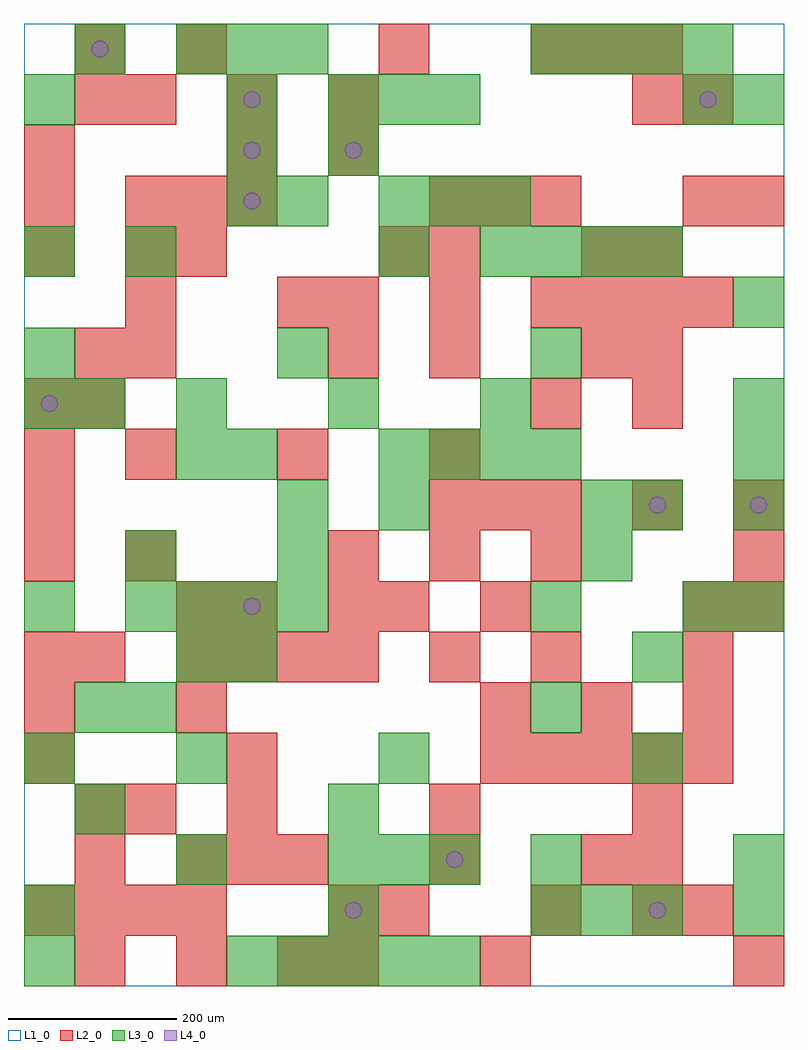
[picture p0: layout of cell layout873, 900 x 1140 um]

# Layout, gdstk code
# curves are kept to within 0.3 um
import gdstk
lib = gdstk.Library(unit=1e-6, precision=1e-09)
def R(c, l, rs):  # rectangles x0, y0, x1, y1
    for r in rs: c.add(gdstk.rectangle(r[:2], r[2:], *l))
def A(c, l, x, y, w, h, nx, ny, dx, dy):  # array of equal rectangles
    R(c, l, [(x+i*dx, y+j*dy, x+i*dx+w, y+j*dy+h) for i in range(nx) for j in range(ny)])
def P(c, l, *ps):  # polygons
    for p in ps: c.add(gdstk.Polygon(p, *l))
L1_0 = (1, 0)
L2_0 = (2, 0)
L3_0 = (3, 0)
L4_0 = (4, 0)

layout873 = lib.new_cell('layout873')
R(layout873, L1_0, [(0,0,900,1140)])
A(layout873, L2_0, 60, 0, 60, 60, 3, 1, 120, 0)
A(layout873, L2_0, 0, 60, 60, 60, 4, 1, 60, 0)
A(layout873, L2_0, 600, 60, 60, 60, 1, 3, 0, 300)
A(layout873, L2_0, 180, 120, 60, 60, 3, 1, 60, 0)
A(layout873, L2_0, 240, 180, 60, 60, 3, 1, 240, 0)
A(layout873, L2_0, 0, 240, 60, 60, 1, 3, 0, 60)
A(layout873, L2_0, 540, 240, 60, 60, 5, 1, 60, 0)
A(layout873, L2_0, 540, 300, 60, 60, 3, 1, 120, 0)
A(layout873, L2_0, 180, 360, 60, 60, 4, 1, 60, 0)
A(layout873, L2_0, 840, 420, 60, 60, 1, 3, 0, 60)
A(layout873, L2_0, 0, 480, 60, 60, 1, 4, 0, 60)
A(layout873, L2_0, 360, 480, 60, 60, 3, 2, 120, 300)
A(layout873, L2_0, 480, 540, 60, 60, 3, 2, 60, 360)
A(layout873, L2_0, 120, 600, 60, 60, 3, 1, 180, 0)
A(layout873, L2_0, 120, 720, 60, 60, 1, 3, 0, 60)
A(layout873, L2_0, 660, 780, 60, 60, 3, 1, 60, 0)
A(layout873, L2_0, 0, 840, 60, 60, 1, 3, 0, 60)
A(layout873, L2_0, 120, 900, 60, 60, 3, 1, 60, 0)
A(layout873, L2_0, 120, 1020, 60, 60, 3, 1, 120, 0)
A(layout873, L2_0, 600, 1080, 60, 60, 3, 1, 60, 0)
R(layout873, L2_0, [(360,0,420,60), (540,0,600,60), (840,0,900,60), (360,60,420,120), (420,60,480,120), (720,60,780,120), (780,60,840,120), (60,120,120,180), (480,120,540,180), (660,120,720,180), (720,120,780,180), (60,180,120,240), (120,180,180,240), (240,240,300,300), (180,300,240,360), (60,360,120,420), (480,360,540,420), (780,360,840,420), (180,420,240,480), (240,420,300,480), (360,420,420,480), (420,420,480,480), (540,420,600,480), (780,420,840,480), (120,480,180,540), (720,540,780,600), (60,660,120,720), (720,660,780,720), (60,720,120,780), (360,720,420,780), (480,720,540,780), (660,720,720,780), (720,720,780,780), (300,780,360,840), (180,840,240,900), (420,840,480,900), (480,840,540,900), (660,840,720,900), (720,840,780,900), (780,900,840,960), (840,900,900,960), (240,960,300,1020), (360,960,420,1020), (60,1020,120,1080), (720,1020,780,1080), (780,1020,840,1080), (60,1080,120,1140), (180,1080,240,1140), (420,1080,480,1140)])
A(layout873, L3_0, 240, 0, 60, 60, 5, 1, 60, 0)
A(layout873, L3_0, 0, 60, 60, 60, 1, 3, 0, 180)
A(layout873, L3_0, 600, 60, 60, 60, 3, 1, 60, 0)
A(layout873, L3_0, 180, 120, 60, 60, 1, 3, 0, 120)
A(layout873, L3_0, 360, 120, 60, 60, 3, 2, 60, 900)
A(layout873, L3_0, 420, 240, 60, 60, 1, 3, 0, 300)
A(layout873, L3_0, 120, 420, 60, 60, 4, 1, 60, 0)
A(layout873, L3_0, 840, 540, 60, 60, 1, 3, 0, 60)
A(layout873, L3_0, 420, 600, 60, 60, 4, 1, 60, 0)
A(layout873, L3_0, 0, 660, 60, 60, 1, 3, 0, 180)
A(layout873, L3_0, 180, 660, 60, 60, 3, 1, 180, 0)
A(layout873, L3_0, 0, 720, 60, 60, 3, 1, 300, 0)
A(layout873, L3_0, 540, 840, 60, 60, 4, 1, 60, 0)
A(layout873, L3_0, 240, 900, 60, 60, 1, 3, 0, 60)
A(layout873, L3_0, 420, 900, 60, 60, 3, 1, 60, 0)
A(layout873, L3_0, 180, 1080, 60, 60, 3, 1, 60, 0)
A(layout873, L3_0, 600, 1080, 60, 60, 4, 1, 60, 0)
R(layout873, L3_0, [(0,0,60,60), (360,60,420,120), (840,60,900,120), (600,120,660,180), (840,120,900,180), (60,180,120,240), (360,180,420,240), (720,240,780,300), (60,300,120,360), (120,300,180,360), (600,300,660,360), (240,360,300,420), (720,360,780,420), (600,420,660,480), (780,420,840,480), (840,420,900,480), (120,480,180,540), (300,480,360,540), (660,480,720,540), (300,540,360,600), (660,540,720,600), (720,540,780,600), (180,600,240,660), (240,600,300,660), (60,660,120,720), (840,780,900,840), (120,840,180,900), (300,900,360,960), (360,960,420,1020), (780,1020,840,1080), (840,1020,900,1080), (60,1080,120,1140)])
P(layout873, L4_0, [(40,690),(39.239,693.827),(37.071,697.071),(33.827,699.239),(30,700),(26.173,699.239),(22.929,697.071),(20.761,693.827),(20,690),(20.761,686.173),(22.929,682.929),(26.173,680.761),(30,680),(33.827,680.761),(37.071,682.929),(39.239,686.173)],
  [(100,1110),(99.239,1113.827),(97.071,1117.071),(93.827,1119.239),(90,1120),(86.173,1119.239),(82.929,1117.071),(80.761,1113.827),(80,1110),(80.761,1106.173),(82.929,1102.929),(86.173,1100.761),(90,1100),(93.827,1100.761),(97.071,1102.929),(99.239,1106.173)],
  [(280,450),(279.239,453.827),(277.071,457.071),(273.827,459.239),(270,460),(266.173,459.239),(262.929,457.071),(260.761,453.827),(260,450),(260.761,446.173),(262.929,442.929),(266.173,440.761),(270,440),(273.827,440.761),(277.071,442.929),(279.239,446.173)],
  [(280,930),(279.239,933.827),(277.071,937.071),(273.827,939.239),(270,940),(266.173,939.239),(262.929,937.071),(260.761,933.827),(260,930),(260.761,926.173),(262.929,922.929),(266.173,920.761),(270,920),(273.827,920.761),(277.071,922.929),(279.239,926.173)],
  [(280,990),(279.239,993.827),(277.071,997.071),(273.827,999.239),(270,1000),(266.173,999.239),(262.929,997.071),(260.761,993.827),(260,990),(260.761,986.173),(262.929,982.929),(266.173,980.761),(270,980),(273.827,980.761),(277.071,982.929),(279.239,986.173)],
  [(280,1050),(279.239,1053.827),(277.071,1057.071),(273.827,1059.239),(270,1060),(266.173,1059.239),(262.929,1057.071),(260.761,1053.827),(260,1050),(260.761,1046.173),(262.929,1042.929),(266.173,1040.761),(270,1040),(273.827,1040.761),(277.071,1042.929),(279.239,1046.173)],
  [(400,90),(399.239,93.827),(397.071,97.071),(393.827,99.239),(390,100),(386.173,99.239),(382.929,97.071),(380.761,93.827),(380,90),(380.761,86.173),(382.929,82.929),(386.173,80.761),(390,80),(393.827,80.761),(397.071,82.929),(399.239,86.173)],
  [(400,990),(399.239,993.827),(397.071,997.071),(393.827,999.239),(390,1000),(386.173,999.239),(382.929,997.071),(380.761,993.827),(380,990),(380.761,986.173),(382.929,982.929),(386.173,980.761),(390,980),(393.827,980.761),(397.071,982.929),(399.239,986.173)],
  [(520,150),(519.239,153.827),(517.071,157.071),(513.827,159.239),(510,160),(506.173,159.239),(502.929,157.071),(500.761,153.827),(500,150),(500.761,146.173),(502.929,142.929),(506.173,140.761),(510,140),(513.827,140.761),(517.071,142.929),(519.239,146.173)],
  [(760,90),(759.239,93.827),(757.071,97.071),(753.827,99.239),(750,100),(746.173,99.239),(742.929,97.071),(740.761,93.827),(740,90),(740.761,86.173),(742.929,82.929),(746.173,80.761),(750,80),(753.827,80.761),(757.071,82.929),(759.239,86.173)],
  [(760,570),(759.239,573.827),(757.071,577.071),(753.827,579.239),(750,580),(746.173,579.239),(742.929,577.071),(740.761,573.827),(740,570),(740.761,566.173),(742.929,562.929),(746.173,560.761),(750,560),(753.827,560.761),(757.071,562.929),(759.239,566.173)],
  [(820,1050),(819.239,1053.827),(817.071,1057.071),(813.827,1059.239),(810,1060),(806.173,1059.239),(802.929,1057.071),(800.761,1053.827),(800,1050),(800.761,1046.173),(802.929,1042.929),(806.173,1040.761),(810,1040),(813.827,1040.761),(817.071,1042.929),(819.239,1046.173)],
  [(880,570),(879.239,573.827),(877.071,577.071),(873.827,579.239),(870,580),(866.173,579.239),(862.929,577.071),(860.761,573.827),(860,570),(860.761,566.173),(862.929,562.929),(866.173,560.761),(870,560),(873.827,560.761),(877.071,562.929),(879.239,566.173)])

lib.write_gds('layout873.gds')
